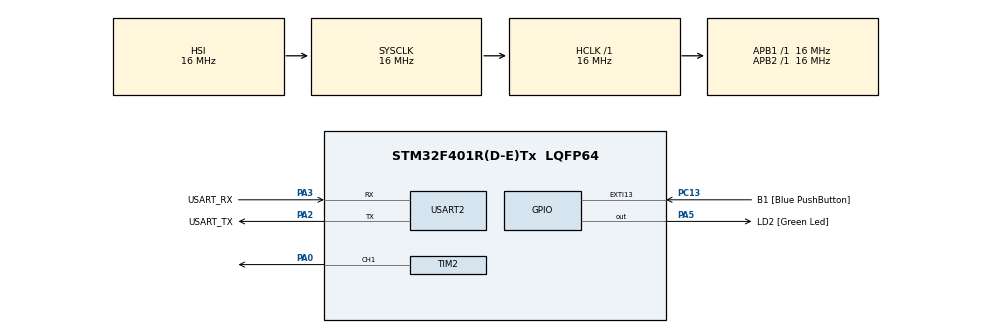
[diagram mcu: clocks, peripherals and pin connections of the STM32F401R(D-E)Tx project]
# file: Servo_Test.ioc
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Mcu.Family=STM32F4
Mcu.Name=STM32F401R(D-E)Tx
Mcu.Package=LQFP64
NVIC.PriorityGroup=NVIC_PRIORITYGROUP_4
PA0-WKUP.Signal=S_TIM2_CH1_ETR
PA13.GPIO_Label=TMS
PA13.Mode=Trace_Asynchronous_SW
PA13.Signal=SYS_JTMS-SWDIO
PA14.GPIO_Label=TCK
PA14.Mode=Trace_Asynchronous_SW
PA14.Signal=SYS_JTCK-SWCLK
PA2.GPIO_Label=USART_TX
PA2.GPIO_Mode=GPIO_MODE_AF_PP
PA2.GPIO_PuPd=GPIO_NOPULL
PA2.GPIO_Speed=GPIO_SPEED_FREQ_LOW
PA2.Mode=Asynchronous
PA2.Signal=USART2_TX
PA3.GPIO_Label=USART_RX
PA3.GPIO_Mode=GPIO_MODE_AF_PP
PA3.GPIO_PuPd=GPIO_NOPULL
PA3.GPIO_Speed=GPIO_SPEED_FREQ_LOW
PA3.Mode=Asynchronous
PA3.Signal=USART2_RX
PA5.GPIO_Label=LD2 [Green Led]
PA5.GPIO_Mode=GPIO_MODE_OUTPUT_PP
PA5.GPIO_PuPd=GPIO_NOPULL
PA5.GPIO_Speed=GPIO_SPEED_FREQ_LOW
PA5.Signal=GPIO_Output
PB3.GPIO_Label=SWO
PB3.Mode=Trace_Asynchronous_SW
PB3.Signal=SYS_JTDO-SWO
PC13-ANTI_TAMP.GPIO_Label=B1 [Blue PushButton]
PC13-ANTI_TAMP.GPIO_ModeDefaultEXTI=GPIO_MODE_IT_FALLING
PC13-ANTI_TAMP.GPIO_PuPd=GPIO_NOPULL
PC13-ANTI_TAMP.Signal=GPXTI13
PC14-OSC32_IN.Mode=LSE-External-Oscillator
PC14-OSC32_IN.Signal=RCC_OSC32_IN
PC15-OSC32_OUT.Mode=LSE-External-Oscillator
PC15-OSC32_OUT.Signal=RCC_OSC32_OUT
PH0\ -\ OSC_IN.Mode=HSE-External-Clock-Source
PH0\ -\ OSC_IN.Signal=RCC_OSC_IN
PH1\ -\ OSC_OUT.Mode=HSE-External-Clock-Source
PH1\ -\ OSC_OUT.Signal=RCC_OSC_OUT
ProjectManager.HeapSize=0x200
ProjectManager.StackSize=0x400
ProjectManager.TargetToolchain=STM32CubeIDE
RCC.48MHZClocksFreq_Value=48000000
RCC.AHBFreq_Value=16000000
RCC.APB1Freq_Value=16000000
RCC.APB1TimFreq_Value=16000000
RCC.APB2Freq_Value=16000000
RCC.APB2TimFreq_Value=16000000
RCC.CortexFreq_Value=16000000
RCC.HCLKFreq_Value=16000000
RCC.HSE_VALUE=8000000
RCC.HSI_VALUE=16000000
RCC.PLLN=336
RCC.PLLP=RCC_PLLP_DIV4
RCC.PLLQ=7
RCC.SYSCLKFreq_VALUE=16000000
RCC.VCOOutputFreq_Value=336000000
SH.S_TIM2_CH1_ETR.0=TIM2_CH1,PWM Generation1 CH1
TIM2.AutoReloadPreload=TIM_AUTORELOAD_PRELOAD_ENABLE
TIM2.Channel-PWM\ Generation1\ CH1=TIM_CHANNEL_1
TIM2.Period=20000-1
TIM2.Prescaler=16-1
TIM2.Pulse-PWM\ Generation1\ CH1=500-1
USART2.VirtualMode=VM_ASYNC
VP_TIM2_VS_ClockSourceINT.Mode=Internal
board=NUCLEO-F401RE

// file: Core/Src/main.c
/* USER CODE BEGIN Header */
/**
  ******************************************************************************
  * @file           : main.c
  * @brief          : Main program body
  ******************************************************************************
  * @attention
  *
  * Copyright (c) 2025 STMicroelectronics.
  * All rights reserved.
  *
  * This software is licensed under terms that can be found in the LICENSE file
  * in the root directory of this software component.
  * If no LICENSE file comes with this software, it is provided AS-IS.
  *
  ******************************************************************************
  */
/* USER CODE END Header */
#include "main.h"

/* USER CODE BEGIN Includes */
#include <string.h>
#include <stdio.h>
/* USER CODE END Includes */

TIM_HandleTypeDef htim2;

UART_HandleTypeDef huart2;

void SystemClock_Config(void);
static void MX_GPIO_Init(void);
static void MX_USART2_UART_Init(void);
static void MX_TIM2_Init(void);

int main(void)
{

  /* MCU Configuration--------------------------------------------------------*/

  /* Reset of all peripherals, Initializes the Flash interface and the Systick. */
  HAL_Init();

  /* Configure the system clock */
  SystemClock_Config();

  /* Initialize all configured peripherals */
  MX_GPIO_Init();
  MX_USART2_UART_Init();
  MX_TIM2_Init();
  /* USER CODE BEGIN 2 */
  int TIM2_Ch1_DCVAL = 500;
  int TIM2_CH1_STEP = 20;

  HAL_TIM_Base_Start(&htim2);
  HAL_TIM_PWM_Start(&htim2, TIM_CHANNEL_1);
  TIM2->PSC = 16-1;
  TIM2->ARR = 20000-1;
  TIM2->CCR1 = TIM2_Ch1_DCVAL;
  /* USER CODE END 2 */

  /* Infinite loop */
  /* USER CODE BEGIN WHILE */
  while (1)
  {
	  while(TIM2_Ch1_DCVAL < 2500) {
		  TIM2_Ch1_DCVAL += (TIM2_CH1_STEP);
		  TIM2->CCR1 = TIM2_Ch1_DCVAL;
		  HAL_Delay(500);
	  }
	  while(TIM2_Ch1_DCVAL > 500) {
		  TIM2_Ch1_DCVAL -= (TIM2_CH1_STEP);
		  TIM2->CCR1 = TIM2_Ch1_DCVAL;
		  HAL_Delay(500);
	  }
    /* USER CODE END WHILE */

  }
}

void SystemClock_Config(void)
{
  RCC_OscInitTypeDef RCC_OscInitStruct = {0};
  RCC_ClkInitTypeDef RCC_ClkInitStruct = {0};

  /** Configure the main internal regulator output voltage
  */
  __HAL_RCC_PWR_CLK_ENABLE();
  __HAL_PWR_VOLTAGESCALING_CONFIG(PWR_REGULATOR_VOLTAGE_SCALE2);

  /** Initializes the RCC Oscillators according to the specified parameters
  * in the RCC_OscInitTypeDef structure.
  */
  RCC_OscInitStruct.OscillatorType = RCC_OSCILLATORTYPE_HSI;
  RCC_OscInitStruct.HSIState = RCC_HSI_ON;
  RCC_OscInitStruct.HSICalibrationValue = RCC_HSICALIBRATION_DEFAULT;
  RCC_OscInitStruct.PLL.PLLState = RCC_PLL_NONE;
  if (HAL_RCC_OscConfig(&RCC_OscInitStruct) != HAL_OK)
  {
    Error_Handler();
  }

  /** Initializes the CPU, AHB and APB buses clocks
  */
  RCC_ClkInitStruct.ClockType = RCC_CLOCKTYPE_HCLK|RCC_CLOCKTYPE_SYSCLK
                              |RCC_CLOCKTYPE_PCLK1|RCC_CLOCKTYPE_PCLK2;
  RCC_ClkInitStruct.SYSCLKSource = RCC_SYSCLKSOURCE_HSI;
  RCC_ClkInitStruct.AHBCLKDivider = RCC_SYSCLK_DIV1;
  RCC_ClkInitStruct.APB1CLKDivider = RCC_HCLK_DIV1;
  RCC_ClkInitStruct.APB2CLKDivider = RCC_HCLK_DIV1;

  if (HAL_RCC_ClockConfig(&RCC_ClkInitStruct, FLASH_LATENCY_0) != HAL_OK)
  {
    Error_Handler();
  }
}

static void MX_TIM2_Init(void)
{

  TIM_ClockConfigTypeDef sClockSourceConfig = {0};
  TIM_MasterConfigTypeDef sMasterConfig = {0};
  TIM_OC_InitTypeDef sConfigOC = {0};

  htim2.Instance = TIM2;
  htim2.Init.Prescaler = 16-1;
  htim2.Init.CounterMode = TIM_COUNTERMODE_UP;
  htim2.Init.Period = 20000-1;
  htim2.Init.ClockDivision = TIM_CLOCKDIVISION_DIV1;
  htim2.Init.AutoReloadPreload = TIM_AUTORELOAD_PRELOAD_ENABLE;
  if (HAL_TIM_Base_Init(&htim2) != HAL_OK)
  {
    Error_Handler();
  }
  sClockSourceConfig.ClockSource = TIM_CLOCKSOURCE_INTERNAL;
  if (HAL_TIM_ConfigClockSource(&htim2, &sClockSourceConfig) != HAL_OK)
  {
    Error_Handler();
  }
  if (HAL_TIM_PWM_Init(&htim2) != HAL_OK)
  {
    Error_Handler();
  }
  sMasterConfig.MasterOutputTrigger = TIM_TRGO_RESET;
  sMasterConfig.MasterSlaveMode = TIM_MASTERSLAVEMODE_DISABLE;
  if (HAL_TIMEx_MasterConfigSynchronization(&htim2, &sMasterConfig) != HAL_OK)
  {
    Error_Handler();
  }
  sConfigOC.OCMode = TIM_OCMODE_PWM1;
  sConfigOC.Pulse = 500-1;
  sConfigOC.OCPolarity = TIM_OCPOLARITY_HIGH;
  sConfigOC.OCFastMode = TIM_OCFAST_DISABLE;
  if (HAL_TIM_PWM_ConfigChannel(&htim2, &sConfigOC, TIM_CHANNEL_1) != HAL_OK)
  {
    Error_Handler();
  }
  HAL_TIM_MspPostInit(&htim2);

}

static void MX_USART2_UART_Init(void)
{

  huart2.Instance = USART2;
  huart2.Init.BaudRate = 115200;
  huart2.Init.WordLength = UART_WORDLENGTH_8B;
  huart2.Init.StopBits = UART_STOPBITS_1;
  huart2.Init.Parity = UART_PARITY_NONE;
  huart2.Init.Mode = UART_MODE_TX_RX;
  huart2.Init.HwFlowCtl = UART_HWCONTROL_NONE;
  huart2.Init.OverSampling = UART_OVERSAMPLING_16;
  if (HAL_UART_Init(&huart2) != HAL_OK)
  {
    Error_Handler();
  }

}

static void MX_GPIO_Init(void)
{
  GPIO_InitTypeDef GPIO_InitStruct = {0};

  /* GPIO Ports Clock Enable */
  __HAL_RCC_GPIOC_CLK_ENABLE();
  __HAL_RCC_GPIOH_CLK_ENABLE();
  __HAL_RCC_GPIOA_CLK_ENABLE();
  __HAL_RCC_GPIOB_CLK_ENABLE();

  /*Configure GPIO pin Output Level */
  HAL_GPIO_WritePin(LD2_GPIO_Port, LD2_Pin, GPIO_PIN_RESET);

  /*Configure GPIO pin : B1_Pin */
  GPIO_InitStruct.Pin = B1_Pin;
  GPIO_InitStruct.Mode = GPIO_MODE_IT_FALLING;
  GPIO_InitStruct.Pull = GPIO_NOPULL;
  HAL_GPIO_Init(B1_GPIO_Port, &GPIO_InitStruct);

  /*Configure GPIO pin : LD2_Pin */
  GPIO_InitStruct.Pin = LD2_Pin;
  GPIO_InitStruct.Mode = GPIO_MODE_OUTPUT_PP;
  GPIO_InitStruct.Pull = GPIO_NOPULL;
  GPIO_InitStruct.Speed = GPIO_SPEED_FREQ_LOW;
  HAL_GPIO_Init(LD2_GPIO_Port, &GPIO_InitStruct);

}

void Error_Handler(void)
{
  __disable_irq();
  while (1)
  {
  }
}
